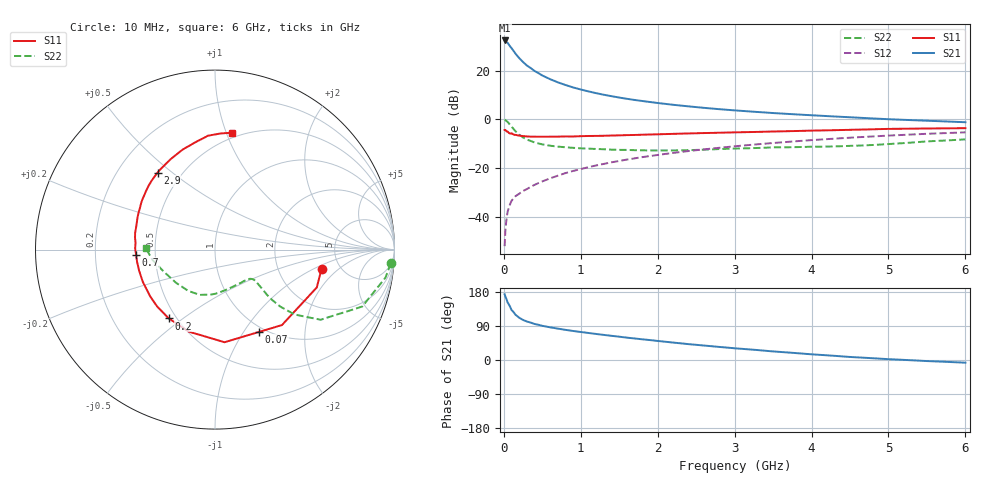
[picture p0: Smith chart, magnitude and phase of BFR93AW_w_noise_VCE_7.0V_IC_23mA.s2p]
! Infineon Technologies  Discrete & RF Semiconductors
! BFR93AW
! VCE =  7.0 V,  IC =  23 mA
! Common Emitter S-Parameters:  Jan 2017
# GHz  S  MA  R  50
!  f  S11  S21  S12  S22
! GHz  MAG  ANG  MAG  ANG  MAG  ANG  MAG  ANG
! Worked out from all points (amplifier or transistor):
!   77 points, 10 MHz to 6 GHz, reference 50 ohm
!   highest |S21| = 32.3 dB at 10 MHz (marker M1)
!   |S21| within 3 dB of that: start of sweep to 95.85 MHz
!   unconditionally stable (mu >= 1): 662.2 MHz to 2.031 GHz
!   at 130 MHz: K = 0.46, MSG = 30.1 dB, |S12| = -32.3 dB
!   at 2.2 GHz: K = 0.99, MSG = 9.9 dB, |S12| = -13.8 dB
!   at 6 GHz: K = 0.87, MSG = 2.1 dB, |S12| = -5.4 dB
!   lowest NFmin = 1.60 dB at 450 MHz
!   S11 on the Smith chart (normalised r, x): 10 MHz: 3.60, -1.22; 70 MHz: 0.93, -1.18; 200 MHz: 0.46, -0.44; 700 MHz: 0.39, -0.03; 2.9 GHz: 0.37, +0.44; 6 GHz: 0.46, +1.05
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0.01  0.6032 -10.3  41.37 173.4  0.0025 87.2  0.9823 -4.5
0.02  0.6051 -20.4  41.06 167.8  0.0052 86.1  0.9628 -9.3
0.05  0.5621 -48.4  36.84 151.5  0.0129 71.5  0.8799 -21.1
0.07  0.5201 -61.9  33.17 144.9  0.0162 66.5  0.8062 -25.5
0.1  0.5188 -84.1  28.76 132.0  0.0213 61.9  0.7065 -33.6
0.15  0.4798 -107.8  22.37 119.7  0.0264 57.1  0.5717 -39.2
0.2  0.4618 -123.9  17.97 111.6  0.0298 58.0  0.4835 -41.1
0.25  0.4521 -135.5  14.93 105.6  0.0339 58.1  0.4247 -41.4
0.3  0.4453 -144.2  12.68 101.5  0.0371 59.6  0.3831 -41.0
0.4  0.4405 -156.0  9.78 95.0  0.0453 61.8  0.3345 -39.5
0.5  0.4387 -164.6  7.914 90.2  0.0532 64.1  0.306 -38.6
0.6  0.4396 -171.0  6.667 86.3  0.0614 65.8  0.2875 -37.9
0.7  0.4406 -176.2  5.742 82.9  0.0696 67.4  0.2753 -37.7
0.9  0.4444 175.1  4.502 76.6  0.0871 68.4  0.2599 -38.9
1.1  0.4546 168.1  3.731 71.3  0.1042 69.0  0.2501 -41.3
1.5  0.4686 156.7  2.79 61.5  0.1397 67.9  0.2363 -49.2
2.1  0.4971 142.5  2.07 48.2  0.1949 64.5  0.2294 -66.4
2.9  0.5347 126.8  1.567 32.8  0.2696 58.2  0.2478 -91.7
3.1  0.5432 123.0  1.485 29.4  0.2885 56.3  0.2528 -97.5
4.1  0.5896 106.3  1.187 13.7  0.3828 46.5  0.2743 -126.3
5.1  0.6376 92.2  0.989 1.3  0.471 35.5  0.3174 -159.7
6  0.6582 81.6  0.871 -7.1  0.5401 25.2  0.3873 178.5
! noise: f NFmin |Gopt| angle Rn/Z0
0.45  1.6  0.15  166  0.15
0.9  1.88  0.24  177  0.16
1.9  2.89  0.48  -138  0.24
2.4  3.53  0.55  -126  0.48
